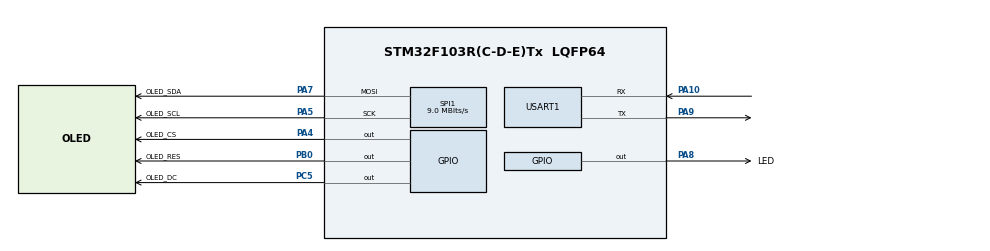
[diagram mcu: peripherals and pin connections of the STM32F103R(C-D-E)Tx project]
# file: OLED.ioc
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Dma.Request0=USART1_TX
Dma.Request1=SPI1_TX
Dma.SPI1_TX.1.Direction=DMA_MEMORY_TO_PERIPH
Dma.SPI1_TX.1.Instance=DMA1_Channel3
Dma.SPI1_TX.1.MemDataAlignment=DMA_MDATAALIGN_BYTE
Dma.SPI1_TX.1.MemInc=DMA_MINC_ENABLE
Dma.SPI1_TX.1.Mode=DMA_NORMAL
Dma.SPI1_TX.1.PeriphDataAlignment=DMA_PDATAALIGN_BYTE
Dma.SPI1_TX.1.PeriphInc=DMA_PINC_DISABLE
Dma.SPI1_TX.1.Priority=DMA_PRIORITY_LOW
Dma.USART1_TX.0.Direction=DMA_MEMORY_TO_PERIPH
Dma.USART1_TX.0.Instance=DMA1_Channel4
Dma.USART1_TX.0.MemDataAlignment=DMA_MDATAALIGN_BYTE
Dma.USART1_TX.0.MemInc=DMA_MINC_ENABLE
Dma.USART1_TX.0.Mode=DMA_NORMAL
Dma.USART1_TX.0.PeriphDataAlignment=DMA_PDATAALIGN_BYTE
Dma.USART1_TX.0.PeriphInc=DMA_PINC_DISABLE
Dma.USART1_TX.0.Priority=DMA_PRIORITY_LOW
Mcu.Family=STM32F1
Mcu.Name=STM32F103R(C-D-E)Tx
Mcu.Package=LQFP64
NVIC.DMA1_Channel3_IRQn=true\:0\:0\:false\:false\:true\:false\:true\:true
NVIC.DMA1_Channel4_IRQn=true\:0\:0\:false\:false\:true\:false\:true\:true
NVIC.PriorityGroup=NVIC_PRIORITYGROUP_4
PA10.Mode=Asynchronous
PA10.Signal=USART1_RX
PA4.GPIO_Label=OLED_CS
PA4.GPIO_Speed=GPIO_SPEED_FREQ_HIGH
PA4.Signal=GPIO_Output
PA5.GPIO_Label=OLED_SCL
PA5.Mode=TX_Only_Simplex_Unidirect_Master
PA5.Signal=SPI1_SCK
PA7.GPIO_Label=OLED_SDA
PA7.Mode=TX_Only_Simplex_Unidirect_Master
PA7.Signal=SPI1_MOSI
PA8.GPIO_Label=LED
PA8.Signal=GPIO_Output
PA9.Mode=Asynchronous
PA9.Signal=USART1_TX
PB0.GPIO_Label=OLED_RES
PB0.GPIO_Speed=GPIO_SPEED_FREQ_HIGH
PB0.Signal=GPIO_Output
PC5.GPIO_Label=OLED_DC
PC5.GPIO_Speed=GPIO_SPEED_FREQ_HIGH
PC5.Signal=GPIO_Output
PD0-OSC_IN.Mode=HSE-External-Oscillator
PD0-OSC_IN.Signal=RCC_OSC_IN
PD1-OSC_OUT.Mode=HSE-External-Oscillator
PD1-OSC_OUT.Signal=RCC_OSC_OUT
ProjectManager.HeapSize=0x200
ProjectManager.StackSize=0x400
ProjectManager.TargetToolchain=Makefile
RCC.AHBFreq_Value=72000000
RCC.APB1CLKDivider=RCC_HCLK_DIV2
RCC.APB1Freq_Value=36000000
RCC.APB1TimFreq_Value=72000000
RCC.APB2Freq_Value=72000000
RCC.APB2TimFreq_Value=72000000
RCC.EnbaleCSS=true
RCC.HCLKFreq_Value=72000000
RCC.PLLMUL=RCC_PLL_MUL9
RCC.PLLSourceVirtual=RCC_PLLSOURCE_HSE
RCC.SYSCLKFreq_VALUE=72000000
RCC.SYSCLKSource=RCC_SYSCLKSOURCE_PLLCLK
RCC.USBFreq_Value=72000000
SPI1.BaudRatePrescaler=SPI_BAUDRATEPRESCALER_8
SPI1.CRCCalculation=SPI_CRCCALCULATION_DISABLE
SPI1.CalculateBaudRate=9.0 MBits/s
SPI1.Direction=SPI_DIRECTION_2LINES
SPI1.Mode=SPI_MODE_MASTER
SPI1.VirtualNSS=VM_NSSHARD
SPI1.VirtualType=VM_MASTER
USART1.VirtualMode=VM_ASYNC
VP_SYS_VS_ND.Mode=No_Debug
board=custom

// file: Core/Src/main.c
/* USER CODE BEGIN Header */
/**
  ******************************************************************************
  * @file           : main.c
  * @brief          : Main program body
  ******************************************************************************
  * @attention
  *
  * Copyright (c) 2023 STMicroelectronics.
  * All rights reserved.
  *
  * This software is licensed under terms that can be found in the LICENSE file
  * in the root directory of this software component.
  * If no LICENSE file comes with this software, it is provided AS-IS.
  *
  ******************************************************************************
  */
/* USER CODE END Header */
#include "main.h"

void SystemClock_Config(void);
static void MX_GPIO_Init(void);
static void MX_DMA_Init(void);
static void MX_SPI1_Init(void);
static void MX_USART1_UART_Init(void);

int main(void)
{

  /* MCU Configuration--------------------------------------------------------*/

  /* Reset of all peripherals, Initializes the Flash interface and the Systick. */
  LL_APB2_GRP1_EnableClock(LL_APB2_GRP1_PERIPH_AFIO);
  LL_APB1_GRP1_EnableClock(LL_APB1_GRP1_PERIPH_PWR);

  /* System interrupt init*/
  NVIC_SetPriorityGrouping(NVIC_PRIORITYGROUP_4);

  /* SysTick_IRQn interrupt configuration */
  NVIC_SetPriority(SysTick_IRQn, NVIC_EncodePriority(NVIC_GetPriorityGrouping(),15, 0));

  /** DISABLE: JTAG-DP Disabled and SW-DP Disabled
  */
  LL_GPIO_AF_DisableRemap_SWJ();

  /* Configure the system clock */
  SystemClock_Config();

  /* Initialize all configured peripherals */
  MX_GPIO_Init();
  MX_DMA_Init();
  MX_SPI1_Init();
  MX_USART1_UART_Init();
  /* USER CODE BEGIN 2 */
  ledtest();
  OLED_Init();

  OLED_ColorTurn(0);//0正常显示1 反色显示
  OLED_DisplayTurn(0);//0正常显示 1 屏幕翻转显示
  /* USER CODE END 2 */

  /* Infinite loop */
  /* USER CODE BEGIN WHILE */

  uart1_print_str("Hello World!\r\n");

  OLED_ShowChar(60, 30, 'A', 16, 1);
  OLED_ShowString(10, 5, "Hello World!", 16, 1);
  LL_mDelay(2000);
#include "bmp.h"
  OLED_ShowPicture(0,0,128,64,BMP1,1);
  LL_mDelay(5000);
  OLED_ShowPicture(0,0,128,64,BMP2,1);
  LL_mDelay(5000);
  OLED_Clear();
  while (1)
  {
    ledtest();
    LL_mDelay(500);
    OLED_ScrollDisplay(11,4,1);

    /* USER CODE END WHILE */
  }
}

void SystemClock_Config(void)
{
  LL_FLASH_SetLatency(LL_FLASH_LATENCY_2);
  while(LL_FLASH_GetLatency()!= LL_FLASH_LATENCY_2)
  {
  }
  LL_RCC_HSE_Enable();

   /* Wait till HSE is ready */
  while(LL_RCC_HSE_IsReady() != 1)
  {

  }
  LL_RCC_HSE_EnableCSS();
  LL_RCC_PLL_ConfigDomain_SYS(LL_RCC_PLLSOURCE_HSE_DIV_1, LL_RCC_PLL_MUL_9);
  LL_RCC_PLL_Enable();

   /* Wait till PLL is ready */
  while(LL_RCC_PLL_IsReady() != 1)
  {

  }
  LL_RCC_SetAHBPrescaler(LL_RCC_SYSCLK_DIV_1);
  LL_RCC_SetAPB1Prescaler(LL_RCC_APB1_DIV_2);
  LL_RCC_SetAPB2Prescaler(LL_RCC_APB2_DIV_1);
  LL_RCC_SetSysClkSource(LL_RCC_SYS_CLKSOURCE_PLL);

   /* Wait till System clock is ready */
  while(LL_RCC_GetSysClkSource() != LL_RCC_SYS_CLKSOURCE_STATUS_PLL)
  {

  }
  LL_Init1msTick(72000000);
  LL_SetSystemCoreClock(72000000);
}

static void MX_SPI1_Init(void)
{

  LL_SPI_InitTypeDef SPI_InitStruct = {0};

  LL_GPIO_InitTypeDef GPIO_InitStruct = {0};

  /* Peripheral clock enable */
  LL_APB2_GRP1_EnableClock(LL_APB2_GRP1_PERIPH_SPI1);

  LL_APB2_GRP1_EnableClock(LL_APB2_GRP1_PERIPH_GPIOA);
  /**SPI1 GPIO Configuration
  PA5   ------> SPI1_SCK
  PA7   ------> SPI1_MOSI
  */
  GPIO_InitStruct.Pin = OLED_SCL_Pin|OLED_SDA_Pin;
  GPIO_InitStruct.Mode = LL_GPIO_MODE_ALTERNATE;
  GPIO_InitStruct.Speed = LL_GPIO_SPEED_FREQ_HIGH;
  GPIO_InitStruct.OutputType = LL_GPIO_OUTPUT_PUSHPULL;
  LL_GPIO_Init(GPIOA, &GPIO_InitStruct);

  /* SPI1 DMA Init */

  /* SPI1_TX Init */
  LL_DMA_SetDataTransferDirection(DMA1, LL_DMA_CHANNEL_3, LL_DMA_DIRECTION_MEMORY_TO_PERIPH);

  LL_DMA_SetChannelPriorityLevel(DMA1, LL_DMA_CHANNEL_3, LL_DMA_PRIORITY_HIGH);

  LL_DMA_SetMode(DMA1, LL_DMA_CHANNEL_3, LL_DMA_MODE_NORMAL);

  LL_DMA_SetPeriphIncMode(DMA1, LL_DMA_CHANNEL_3, LL_DMA_PERIPH_NOINCREMENT);

  LL_DMA_SetMemoryIncMode(DMA1, LL_DMA_CHANNEL_3, LL_DMA_MEMORY_INCREMENT);

  LL_DMA_SetPeriphSize(DMA1, LL_DMA_CHANNEL_3, LL_DMA_PDATAALIGN_BYTE);

  LL_DMA_SetMemorySize(DMA1, LL_DMA_CHANNEL_3, LL_DMA_MDATAALIGN_BYTE);

  /* SPI1 parameter configuration*/
  SPI_InitStruct.TransferDirection = LL_SPI_FULL_DUPLEX;
  SPI_InitStruct.Mode = LL_SPI_MODE_MASTER;
  SPI_InitStruct.DataWidth = LL_SPI_DATAWIDTH_8BIT;
  SPI_InitStruct.ClockPolarity = LL_SPI_POLARITY_LOW;
  SPI_InitStruct.ClockPhase = LL_SPI_PHASE_1EDGE;
  SPI_InitStruct.NSS = LL_SPI_NSS_SOFT;
  SPI_InitStruct.BaudRate = LL_SPI_BAUDRATEPRESCALER_DIV8;
  SPI_InitStruct.BitOrder = LL_SPI_MSB_FIRST;
  SPI_InitStruct.CRCCalculation = LL_SPI_CRCCALCULATION_DISABLE;
  SPI_InitStruct.CRCPoly = 10;
  LL_SPI_Init(SPI1, &SPI_InitStruct);
  /* USER CODE BEGIN SPI1_Init 2 */
  // LL_DMA_DisableChannel(DMA1, LL_DMA_CHANNEL_3);
	LL_SPI_EnableDMAReq_TX(SPI1);
  // LL_DMA_SetDataLength(DMA1, LL_DMA_CHANNEL_3, sizeof(uint8_t));

  /* USER CODE END SPI1_Init 2 */

}

static void MX_USART1_UART_Init(void)
{

  LL_USART_InitTypeDef USART_InitStruct = {0};

  LL_GPIO_InitTypeDef GPIO_InitStruct = {0};

  /* Peripheral clock enable */
  LL_APB2_GRP1_EnableClock(LL_APB2_GRP1_PERIPH_USART1);

  LL_APB2_GRP1_EnableClock(LL_APB2_GRP1_PERIPH_GPIOA);
  /**USART1 GPIO Configuration
  PA9   ------> USART1_TX
  PA10   ------> USART1_RX
  */
  GPIO_InitStruct.Pin = LL_GPIO_PIN_9;
  GPIO_InitStruct.Mode = LL_GPIO_MODE_ALTERNATE;
  GPIO_InitStruct.Speed = LL_GPIO_SPEED_FREQ_HIGH;
  GPIO_InitStruct.OutputType = LL_GPIO_OUTPUT_PUSHPULL;
  LL_GPIO_Init(GPIOA, &GPIO_InitStruct);

  GPIO_InitStruct.Pin = LL_GPIO_PIN_10;
  GPIO_InitStruct.Mode = LL_GPIO_MODE_FLOATING;
  LL_GPIO_Init(GPIOA, &GPIO_InitStruct);

  /* USART1 DMA Init */

  /* USART1_TX Init */
  LL_DMA_SetDataTransferDirection(DMA1, LL_DMA_CHANNEL_4, LL_DMA_DIRECTION_MEMORY_TO_PERIPH);

  LL_DMA_SetChannelPriorityLevel(DMA1, LL_DMA_CHANNEL_4, LL_DMA_PRIORITY_LOW);

  LL_DMA_SetMode(DMA1, LL_DMA_CHANNEL_4, LL_DMA_MODE_NORMAL);

  LL_DMA_SetPeriphIncMode(DMA1, LL_DMA_CHANNEL_4, LL_DMA_PERIPH_NOINCREMENT);

  LL_DMA_SetMemoryIncMode(DMA1, LL_DMA_CHANNEL_4, LL_DMA_MEMORY_INCREMENT);

  LL_DMA_SetPeriphSize(DMA1, LL_DMA_CHANNEL_4, LL_DMA_PDATAALIGN_BYTE);

  LL_DMA_SetMemorySize(DMA1, LL_DMA_CHANNEL_4, LL_DMA_MDATAALIGN_BYTE);

  /* USER CODE BEGIN USART1_Init 1 */
  // LL_USART_EnableDMAReq_TX(USART1);
  /* USER CODE END USART1_Init 1 */
  USART_InitStruct.BaudRate = 115200;
  USART_InitStruct.DataWidth = LL_USART_DATAWIDTH_8B;
  USART_InitStruct.StopBits = LL_USART_STOPBITS_1;
  USART_InitStruct.Parity = LL_USART_PARITY_NONE;
  USART_InitStruct.TransferDirection = LL_USART_DIRECTION_TX_RX;
  USART_InitStruct.HardwareFlowControl = LL_USART_HWCONTROL_NONE;
  USART_InitStruct.OverSampling = LL_USART_OVERSAMPLING_16;
  LL_USART_Init(USART1, &USART_InitStruct);
  LL_USART_ConfigAsyncMode(USART1);
  LL_USART_Enable(USART1);
  /* USER CODE BEGIN USART1_Init 2 */
  LL_USART_EnableDMAReq_TX(USART1);
  /* USER CODE END USART1_Init 2 */

}

static void MX_DMA_Init(void)
{

  /* Init with LL driver */
  /* DMA controller clock enable */
  LL_AHB1_GRP1_EnableClock(LL_AHB1_GRP1_PERIPH_DMA1);

  /* DMA interrupt init */
  /* DMA1_Channel3_IRQn interrupt configuration */
  NVIC_SetPriority(DMA1_Channel3_IRQn, NVIC_EncodePriority(NVIC_GetPriorityGrouping(),0, 0));
  NVIC_EnableIRQ(DMA1_Channel3_IRQn);
  /* DMA1_Channel4_IRQn interrupt configuration */
  NVIC_SetPriority(DMA1_Channel4_IRQn, NVIC_EncodePriority(NVIC_GetPriorityGrouping(),0, 0));
  NVIC_EnableIRQ(DMA1_Channel4_IRQn);

}

static void MX_GPIO_Init(void)
{
  LL_GPIO_InitTypeDef GPIO_InitStruct = {0};

  /* GPIO Ports Clock Enable */
  LL_APB2_GRP1_EnableClock(LL_APB2_GRP1_PERIPH_GPIOD);
  LL_APB2_GRP1_EnableClock(LL_APB2_GRP1_PERIPH_GPIOA);
  LL_APB2_GRP1_EnableClock(LL_APB2_GRP1_PERIPH_GPIOC);
  LL_APB2_GRP1_EnableClock(LL_APB2_GRP1_PERIPH_GPIOB);

  /**/
  LL_GPIO_ResetOutputPin(GPIOA, OLED_CS_Pin|LED_Pin);

  /**/
  LL_GPIO_ResetOutputPin(OLED_DC_GPIO_Port, OLED_DC_Pin);

  /**/
  LL_GPIO_ResetOutputPin(OLED_RES_GPIO_Port, OLED_RES_Pin);

  /**/
  GPIO_InitStruct.Pin = OLED_CS_Pin;
  GPIO_InitStruct.Mode = LL_GPIO_MODE_OUTPUT;
  GPIO_InitStruct.Speed = LL_GPIO_SPEED_FREQ_HIGH;
  GPIO_InitStruct.OutputType = LL_GPIO_OUTPUT_PUSHPULL;
  LL_GPIO_Init(OLED_CS_GPIO_Port, &GPIO_InitStruct);

  /**/
  GPIO_InitStruct.Pin = OLED_DC_Pin;
  GPIO_InitStruct.Mode = LL_GPIO_MODE_OUTPUT;
  GPIO_InitStruct.Speed = LL_GPIO_SPEED_FREQ_HIGH;
  GPIO_InitStruct.OutputType = LL_GPIO_OUTPUT_PUSHPULL;
  LL_GPIO_Init(OLED_DC_GPIO_Port, &GPIO_InitStruct);

  /**/
  GPIO_InitStruct.Pin = OLED_RES_Pin;
  GPIO_InitStruct.Mode = LL_GPIO_MODE_OUTPUT;
  GPIO_InitStruct.Speed = LL_GPIO_SPEED_FREQ_HIGH;
  GPIO_InitStruct.OutputType = LL_GPIO_OUTPUT_PUSHPULL;
  LL_GPIO_Init(OLED_RES_GPIO_Port, &GPIO_InitStruct);

  /**/
  GPIO_InitStruct.Pin = LED_Pin;
  GPIO_InitStruct.Mode = LL_GPIO_MODE_OUTPUT;
  GPIO_InitStruct.Speed = LL_GPIO_SPEED_FREQ_LOW;
  GPIO_InitStruct.OutputType = LL_GPIO_OUTPUT_PUSHPULL;
  LL_GPIO_Init(LED_GPIO_Port, &GPIO_InitStruct);

}

void Error_Handler(void)
{
  __disable_irq();
  while (1)
  {
  }
}
